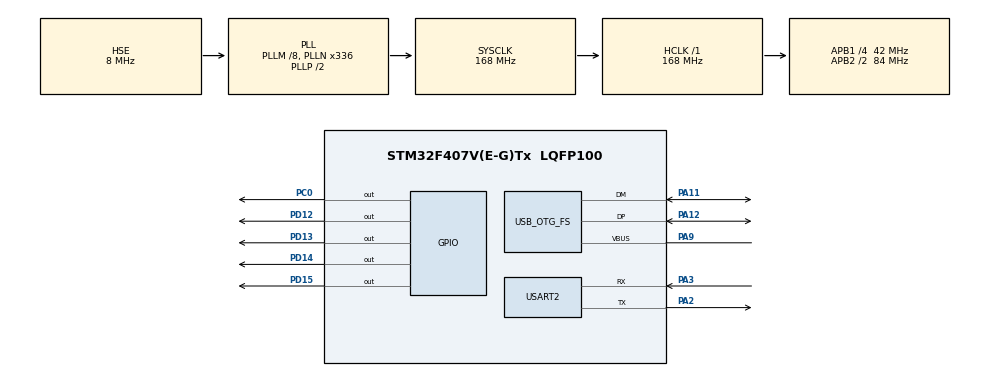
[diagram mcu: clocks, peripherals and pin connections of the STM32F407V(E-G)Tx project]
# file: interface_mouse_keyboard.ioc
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Mcu.Family=STM32F4
Mcu.Name=STM32F407V(E-G)Tx
Mcu.Package=LQFP100
NVIC.OTG_FS_IRQn=true\:0\:0\:false\:false\:true\:true\:true\:true
NVIC.PriorityGroup=NVIC_PRIORITYGROUP_0
PA11.Mode=Host_Only
PA11.Signal=USB_OTG_FS_DM
PA12.Mode=Host_Only
PA12.Signal=USB_OTG_FS_DP
PA2.Mode=Asynchronous
PA2.Signal=USART2_TX
PA3.Mode=Asynchronous
PA3.Signal=USART2_RX
PA9.Mode=Activate_VBUS
PA9.Signal=USB_OTG_FS_VBUS
PC0.Signal=GPIO_Output
PC14-OSC32_IN.Mode=LSE-External-Oscillator
PC14-OSC32_IN.Signal=RCC_OSC32_IN
PC15-OSC32_OUT.Mode=LSE-External-Oscillator
PC15-OSC32_OUT.Signal=RCC_OSC32_OUT
PD12.Signal=GPIO_Output
PD13.Signal=GPIO_Output
PD14.Signal=GPIO_Output
PD15.Signal=GPIO_Output
PH0-OSC_IN.Mode=HSE-External-Oscillator
PH0-OSC_IN.Signal=RCC_OSC_IN
PH1-OSC_OUT.Mode=HSE-External-Oscillator
PH1-OSC_OUT.Signal=RCC_OSC_OUT
ProjectManager.HeapSize=0x200
ProjectManager.StackSize=0x400
ProjectManager.TargetToolchain=STM32CubeIDE
RCC.48MHZClocksFreq_Value=48000000
RCC.AHBFreq_Value=168000000
RCC.APB1CLKDivider=RCC_HCLK_DIV4
RCC.APB1Freq_Value=42000000
RCC.APB1TimFreq_Value=84000000
RCC.APB2CLKDivider=RCC_HCLK_DIV2
RCC.APB2Freq_Value=84000000
RCC.APB2TimFreq_Value=168000000
RCC.CortexFreq_Value=168000000
RCC.HCLKFreq_Value=168000000
RCC.HSE_VALUE=8000000
RCC.HSI_VALUE=16000000
RCC.PLLM=8
RCC.PLLN=336
RCC.PLLQ=7
RCC.SYSCLKFreq_VALUE=168000000
RCC.SYSCLKSource=RCC_SYSCLKSOURCE_PLLCLK
RCC.VCOOutputFreq_Value=336000000
USART2.VirtualMode=VM_ASYNC
USB_HOST.BSP.number=1
USB_HOST.SW_VBUS_DRIVE_HID_FS=false
USB_HOST.USBH_HandleTypeDef-HID_FS=hUsbHostFS
USB_HOST.VirtualModeFS=Hid
USB_HOST0.BSP.STBoard=false
USB_HOST0.BSP.api=Unknown
USB_HOST0.BSP.condition=SW_VBUS_DRIVE_HID_FS \= false
USB_HOST0.BSP.instance=PC0
USB_HOST0.BSP.ip=GPIO
USB_HOST0.BSP.mode=Output
USB_HOST0.BSP.name=Drive_VBUS_FS
USB_HOST0.BSP.solution=PC0
USB_OTG_FS.VirtualMode=Host_Only
USB_OTG_FS.phy_itface=HCD_PHY_EMBEDDED
VP_USB_HOST_VS_USB_HOST_HID_FS.Mode=HID_FS
board=STM32F407G-DISC1

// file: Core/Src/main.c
/* USER CODE BEGIN Header */
/**
  ******************************************************************************
  * @file           : main.c
  * @brief          : Main program body
  ******************************************************************************
  * @attention
  *
  * Copyright (c) 2024 STMicroelectronics.
  * All rights reserved.
  *
  * This software is licensed under terms that can be found in the LICENSE file
  * in the root directory of this software component.
  * If no LICENSE file comes with this software, it is provided AS-IS.
  *
  ******************************************************************************
  */
/* USER CODE END Header */
#include "main.h"
#include "usb_host.h"

/* USER CODE BEGIN Includes */
#include "usbh_hid.h"
#include "stdio.h"
#include "string.h"
/* USER CODE END Includes */

UART_HandleTypeDef huart2;

void SystemClock_Config(void);
static void MX_GPIO_Init(void);
static void MX_USART2_UART_Init(void);
void MX_USB_HOST_Process(void);

/* USER CODE BEGIN 0 */
char uart_buffer[100];
char trial[] = "hey bro\n";

void USBH_HID_EventCallback(USBH_HandleTypeDef *phost){
	if(USBH_HID_GetDeviceType(phost) == HID_MOUSE){

		HID_MOUSE_Info_TypeDef *Mouse_info;
		Mouse_info = USBH_HID_GetMouseInfo(phost);

		//Just to check if its a proper mouse event i have blinked an led
		HAL_GPIO_WritePin(GPIOD, GPIO_PIN_12, GPIO_PIN_SET);
		HAL_Delay(100);
		HAL_GPIO_WritePin(GPIOD, GPIO_PIN_12, GPIO_PIN_RESET);
		HAL_Delay(100);

		//You can also have different leds for different buttons

//		if (Mouse_info->buttons[0] == 1){
//			HAL_GPIO_WritePin(GPIOD, GPIO_PIN_12, GPIO_PIN_SET);
//			HAL_Delay(100);
//			HAL_GPIO_WritePin(GPIOD, GPIO_PIN_12, GPIO_PIN_RESET);
//			HAL_Delay(100);
//		}
//		else if (Mouse_info->buttons[1] == 1){
//			HAL_GPIO_WritePin(GPIOD, GPIO_PIN_13, GPIO_PIN_SET);
//			HAL_Delay(100);
//			HAL_GPIO_WritePin(GPIOD, GPIO_PIN_13, GPIO_PIN_RESET);
//			HAL_Delay(100);
//		}
//		else if (Mouse_info->buttons[2] == 1){
//			HAL_GPIO_WritePin(GPIOD, GPIO_PIN_14, GPIO_PIN_SET);
//			HAL_Delay(100);
//			HAL_GPIO_WritePin(GPIOD, GPIO_PIN_14, GPIO_PIN_RESET);
//			HAL_Delay(100);
//		}

		//You will need usb to ttl for this to be printed for different events

//		int len = sprintf(uart_buffer,"X=%d, Y=%d, b1=%d, b2=%d, b3=%d\n" \
//				,Mouse_info->x,Mouse_info->y,Mouse_info->buttons[0],Mouse_info->buttons[1],Mouse_info->buttons[2]);
//		HAL_UART_Transmit(&huart2, (uint8_t *)uart_buffer, len, 1000);
	}

	if(USBH_HID_GetDeviceType(phost) == HID_KEYBOARD){

		//Just to check if its a proper keybd event i have blinked an led
		HAL_GPIO_WritePin(GPIOD, GPIO_PIN_13, GPIO_PIN_SET);
		HAL_Delay(100);
		HAL_GPIO_WritePin(GPIOD, GPIO_PIN_13, GPIO_PIN_RESET);
		HAL_Delay(100);

		HID_KEYBD_Info_TypeDef *keybd_info;
		keybd_info = USBH_HID_GetKeybdInfo(phost);
		char key = USBH_HID_GetASCIICode(keybd_info);

		//to test specific key
		if(key == 'a'){
			HAL_GPIO_WritePin(GPIOD, GPIO_PIN_14, GPIO_PIN_SET);
			HAL_Delay(100);
			HAL_GPIO_WritePin(GPIOD, GPIO_PIN_14, GPIO_PIN_RESET);
			HAL_Delay(100);
		}

		//will need usb to ttl for this
//		int len = sprintf(uart_buffer,"key presses=%c\n",key);
//		HAL_UART_Transmit(&huart2, (uint8_t *)uart_buffer, len, 1000);
	}
}
/* USER CODE END 0 */

int main(void)
{

  /* MCU Configuration--------------------------------------------------------*/

  /* Reset of all peripherals, Initializes the Flash interface and the Systick. */
  HAL_Init();

  /* Configure the system clock */
  SystemClock_Config();

  /* Initialize all configured peripherals */
  MX_GPIO_Init();
  MX_USB_HOST_Init();
  MX_USART2_UART_Init();
  /* USER CODE BEGIN 2 */
  //This has been done to ensure vbus is activated all the time
  HAL_GPIO_WritePin(GPIOC, GPIO_PIN_0, GPIO_PIN_RESET);
  /* USER CODE END 2 */

  /* Infinite loop */
  while (1)
  {
    MX_USB_HOST_Process();

  }
}

void SystemClock_Config(void)
{
  RCC_OscInitTypeDef RCC_OscInitStruct = {0};
  RCC_ClkInitTypeDef RCC_ClkInitStruct = {0};

  /** Configure the main internal regulator output voltage
  */
  __HAL_RCC_PWR_CLK_ENABLE();
  __HAL_PWR_VOLTAGESCALING_CONFIG(PWR_REGULATOR_VOLTAGE_SCALE1);

  /** Initializes the RCC Oscillators according to the specified parameters
  * in the RCC_OscInitTypeDef structure.
  */
  RCC_OscInitStruct.OscillatorType = RCC_OSCILLATORTYPE_HSE;
  RCC_OscInitStruct.HSEState = RCC_HSE_ON;
  RCC_OscInitStruct.PLL.PLLState = RCC_PLL_ON;
  RCC_OscInitStruct.PLL.PLLSource = RCC_PLLSOURCE_HSE;
  RCC_OscInitStruct.PLL.PLLM = 8;
  RCC_OscInitStruct.PLL.PLLN = 336;
  RCC_OscInitStruct.PLL.PLLP = RCC_PLLP_DIV2;
  RCC_OscInitStruct.PLL.PLLQ = 7;
  if (HAL_RCC_OscConfig(&RCC_OscInitStruct) != HAL_OK)
  {
    Error_Handler();
  }

  /** Initializes the CPU, AHB and APB buses clocks
  */
  RCC_ClkInitStruct.ClockType = RCC_CLOCKTYPE_HCLK|RCC_CLOCKTYPE_SYSCLK
                              |RCC_CLOCKTYPE_PCLK1|RCC_CLOCKTYPE_PCLK2;
  RCC_ClkInitStruct.SYSCLKSource = RCC_SYSCLKSOURCE_PLLCLK;
  RCC_ClkInitStruct.AHBCLKDivider = RCC_SYSCLK_DIV1;
  RCC_ClkInitStruct.APB1CLKDivider = RCC_HCLK_DIV4;
  RCC_ClkInitStruct.APB2CLKDivider = RCC_HCLK_DIV2;

  if (HAL_RCC_ClockConfig(&RCC_ClkInitStruct, FLASH_LATENCY_5) != HAL_OK)
  {
    Error_Handler();
  }
}

static void MX_USART2_UART_Init(void)
{

  huart2.Instance = USART2;
  huart2.Init.BaudRate = 115200;
  huart2.Init.WordLength = UART_WORDLENGTH_8B;
  huart2.Init.StopBits = UART_STOPBITS_1;
  huart2.Init.Parity = UART_PARITY_NONE;
  huart2.Init.Mode = UART_MODE_TX_RX;
  huart2.Init.HwFlowCtl = UART_HWCONTROL_NONE;
  huart2.Init.OverSampling = UART_OVERSAMPLING_16;
  if (HAL_UART_Init(&huart2) != HAL_OK)
  {
    Error_Handler();
  }

}

static void MX_GPIO_Init(void)
{
  GPIO_InitTypeDef GPIO_InitStruct = {0};

  /* GPIO Ports Clock Enable */
  __HAL_RCC_GPIOC_CLK_ENABLE();
  __HAL_RCC_GPIOH_CLK_ENABLE();
  __HAL_RCC_GPIOA_CLK_ENABLE();
  __HAL_RCC_GPIOD_CLK_ENABLE();

  /*Configure GPIO pin Output Level */
  HAL_GPIO_WritePin(GPIOC, GPIO_PIN_0, GPIO_PIN_RESET);

  /*Configure GPIO pin Output Level */
  HAL_GPIO_WritePin(GPIOD, GPIO_PIN_12|GPIO_PIN_13|GPIO_PIN_14|GPIO_PIN_15, GPIO_PIN_RESET);

  /*Configure GPIO pin : PC0 */
  GPIO_InitStruct.Pin = GPIO_PIN_0;
  GPIO_InitStruct.Mode = GPIO_MODE_OUTPUT_PP;
  GPIO_InitStruct.Pull = GPIO_NOPULL;
  GPIO_InitStruct.Speed = GPIO_SPEED_FREQ_LOW;
  HAL_GPIO_Init(GPIOC, &GPIO_InitStruct);

  /*Configure GPIO pins : PD12 PD13 PD14 PD15 */
  GPIO_InitStruct.Pin = GPIO_PIN_12|GPIO_PIN_13|GPIO_PIN_14|GPIO_PIN_15;
  GPIO_InitStruct.Mode = GPIO_MODE_OUTPUT_PP;
  GPIO_InitStruct.Pull = GPIO_NOPULL;
  GPIO_InitStruct.Speed = GPIO_SPEED_FREQ_LOW;
  HAL_GPIO_Init(GPIOD, &GPIO_InitStruct);

}

void Error_Handler(void)
{
  __disable_irq();
  while (1)
  {
  }
}
